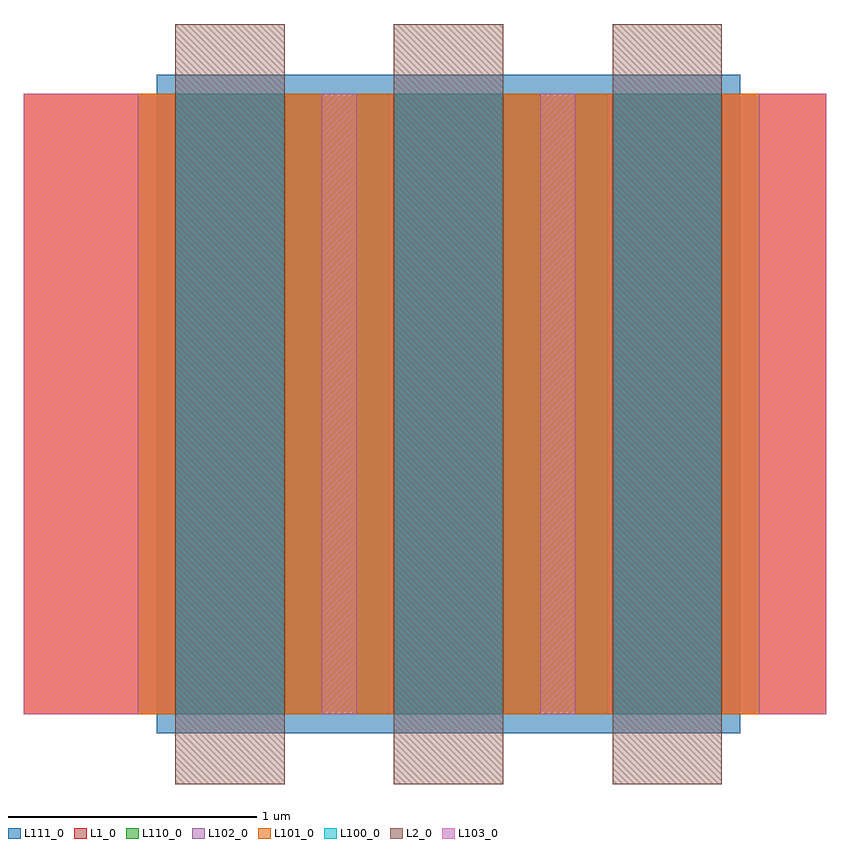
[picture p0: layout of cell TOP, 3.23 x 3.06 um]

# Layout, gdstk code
import gdstk
lib = gdstk.Library(unit=1e-6, precision=1e-09)
def R(c, l, rs):  # rectangles x0, y0, x1, y1
    for r in rs: c.add(gdstk.rectangle(r[:2], r[2:], *l))
L1_0 = (1, 0)
L2_0 = (2, 0)
L100_0 = (100, 0)
L101_0 = (101, 0)
L102_0 = (102, 0)
L103_0 = (103, 0)
L110_0 = (110, 0)
L111_0 = (111, 0)

child = lib.new_cell('CHILD')
R(child, L1_0, [(-0.25,0,1.22,2.5)])
R(child, L2_0, [(0.36,-0.28,0.8,2.78)])
R(child, L100_0, [(0.36,0,0.8,2.5)])
R(child, L101_0, [(-0.08,0,0.36,2.5), (0.8,0,1.22,2.5)])
R(child, L102_0, [(0.21,0,0.95,2.5)])
R(child, L103_0, [(0.07,0,0.21,2.5), (0.95,0,1.09,2.5)])
R(child, L110_0, [(0.36,0,0.8,2.5)])
R(child, L111_0, [(0.285,-0.075,0.875,2.575)])

top = lib.new_cell('TOP')
R(top, L100_0, [(39.95,6.8,40.12,9.3), (40.83,6.8,41,9.3)])
R(top, L101_0, [(39.07,6.8,39.24,9.3)])
R(top, L102_0, [(39.95,6.8,40.27,9.3), (40.41,6.8,40.54,9.3), (40.83,6.8,41.15,9.3), (41.29,6.8,41.42,9.3)])
R(top, L103_0, [(39.07,6.8,39.39,9.3), (42.17,6.8,42.3,9.3)])
R(top, L110_0, [(39.68,6.8,40.54,9.3), (40.12,6.8,40.54,9.3), (40.56,6.8,41.42,9.3), (41,6.8,41.42,9.3)])
R(top, L111_0, [(39.605,6.725,40.485,9.375), (40.195,6.725,41.075,9.375), (40.485,6.725,41.365,9.375), (41.075,6.725,41.955,9.375)])
r = gdstk.Reference(child, (39.32,9.3), x_reflection=True); r.repetition = gdstk.Repetition(3, 1, v1=(0.88,0), v2=(0,0)); top.add(r)

lib.write_gds('TOP.gds')
